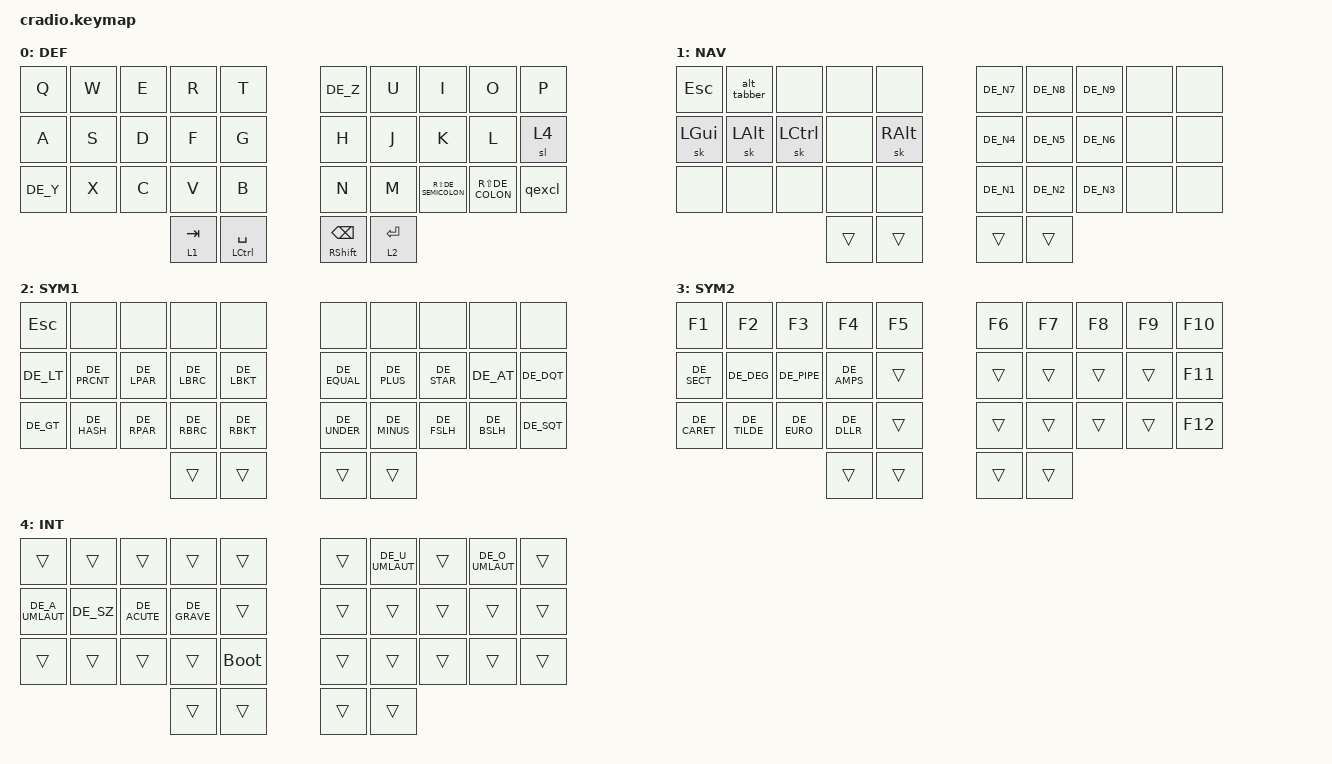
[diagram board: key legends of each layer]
#include <behaviors.dtsi>
#include <dt-bindings/zmk/bt.h>
#include <dt-bindings/zmk/keys.h>
#include <dt-bindings/zmk/outputs.h>

#ifndef KEYMAP_DRAWER

#include "keys_de.h"

#endif

&sk {
    lazy;
    quick-release;
    release-after-ms = <900>;
};

&lt { quick-tap-ms = <220>; };

/ {
    behaviors {
        qexcl: qmark_excl {
            compatible = "zmk,behavior-mod-morph";
            display-name = "SM Qmark-Excl";
            #binding-cells = <0>;
            bindings = <&kp DE_QMARK>, <&kp DE_EXCL>;

            mods = <(MOD_LSFT|MOD_RSFT)>;
            keep-mods = <(MOD_RSFT)>;
        };

        alt_tabber: swapper {
            compatible = "zmk,behavior-tri-state";
            display-name = "Alt-Tabber";
            #binding-cells = <0>;
            bindings = <&kt LALT>, <&kp TAB>, <&kt LALT>;

            ignored-key-positions = <7 16 17 18>; // arrow keys
        };
    };

    macros {
        bts: bts {
            compatible = "zmk,behavior-macro-one-param";
            display-name = "BT Switch + Select";
            #binding-cells = <1>;
            bindings = <&out OUT_BLE &macro_param_1to2 &bt BT_SEL MACRO_PLACEHOLDER>;
        };
    };

    conditional_layers {
        compatible = "zmk,conditional-layers";

        tri_layer {
            if-layers = <1 2>;
            then-layer = <3>;
        };
    };

    keymap {
        compatible = "zmk,keymap";

        default_layer {
            display-name = "DEF";
            bindings = <
&kp Q     &kp W  &kp E  &kp R      &kp T            &kp DE_Z                   &kp U        &kp I                 &kp O             &kp P
&kp A     &kp S  &kp D  &kp F      &kp G            &kp H                      &kp J        &kp K                 &kp L             &sl 4
&kp DE_Y  &kp X  &kp C  &kp V      &kp B            &kp N                      &kp M        &kp RS(DE_SEMICOLON)  &kp RS(DE_COLON)  &qexcl
                        &lt 1 TAB  &mt LCTRL SPACE  &mt RIGHT_SHIFT BACKSPACE  &lt 2 ENTER
            >;
        };

        navigation_layer {
            display-name = "NAV";
            bindings = <
&kp ESC   &alt_tabber  &none      &none   &none     &kp DE_N7  &kp DE_N8  &kp DE_N9  &none  &none
&sk LGUI  &sk LALT     &sk LCTRL  &none   &sk RALT  &kp DE_N4  &kp DE_N5  &kp DE_N6  &none  &none
&none     &none        &none      &none   &none     &kp DE_N1  &kp DE_N2  &kp DE_N3  &none  &none
                                  &trans  &trans    &trans     &trans
            >;
        };

        symbol1_layer {
            display-name = "SYM1";
            bindings = <
&kp ESCAPE  &none         &none        &none        &none        &none         &none         &none        &none        &none
&kp DE_LT   &kp DE_PRCNT  &kp DE_LPAR  &kp DE_LBRC  &kp DE_LBKT  &kp DE_EQUAL  &kp DE_PLUS   &kp DE_STAR  &kp DE_AT    &kp DE_DQT
&kp DE_GT   &kp DE_HASH   &kp DE_RPAR  &kp DE_RBRC  &kp DE_RBKT  &kp DE_UNDER  &kp DE_MINUS  &kp DE_FSLH  &kp DE_BSLH  &kp DE_SQT
                                       &trans       &trans       &trans        &trans
            >;
        };

        symbol2_layer {
            display-name = "SYM2";
            bindings = <
&kp F1        &kp F2        &kp F3       &kp F4       &kp F5  &kp F6  &kp F7  &kp F8  &kp F9  &kp F10
&kp DE_SECT   &kp DE_DEG    &kp DE_PIPE  &kp DE_AMPS  &trans  &trans  &trans  &trans  &trans  &kp F11
&kp DE_CARET  &kp DE_TILDE  &kp DE_EURO  &kp DE_DLLR  &trans  &trans  &trans  &trans  &trans  &kp F12
                                         &trans       &trans  &trans  &trans
            >;
        };

        international_layer {
            display-name = "INT";
            bindings = <
&trans           &trans     &trans        &trans        &trans       &trans  &kp DE_U_UMLAUT  &trans  &kp DE_O_UMLAUT  &trans
&kp DE_A_UMLAUT  &kp DE_SZ  &kp DE_ACUTE  &kp DE_GRAVE  &trans       &trans  &trans           &trans  &trans           &trans
&trans           &trans     &trans        &trans        &bootloader  &trans  &trans           &trans  &trans           &trans
                                          &trans        &trans       &trans  &trans
            >;
        };
    };
};
